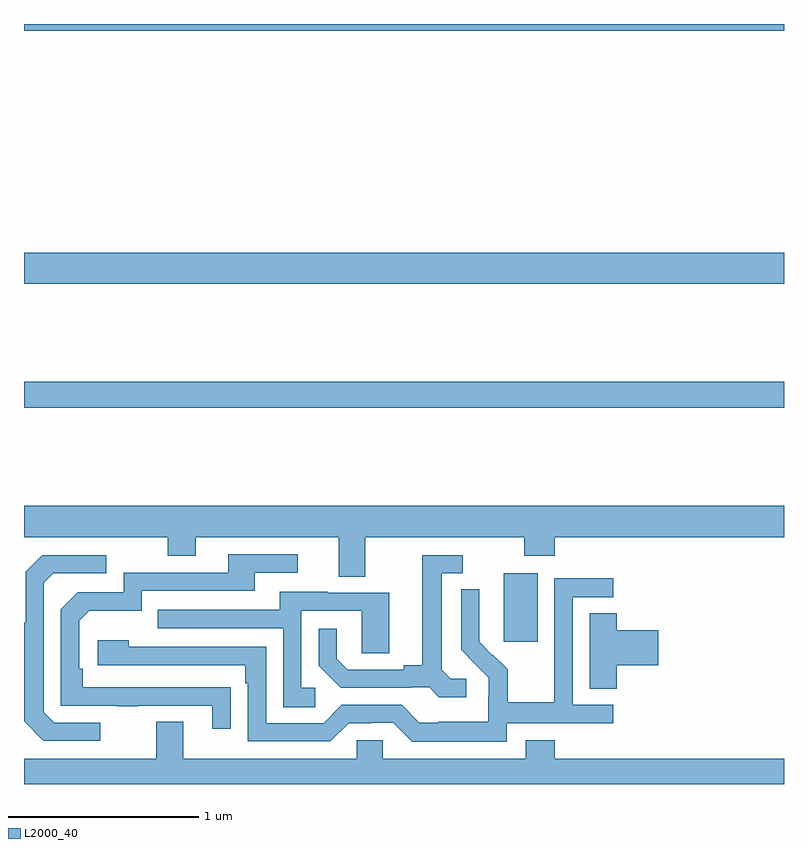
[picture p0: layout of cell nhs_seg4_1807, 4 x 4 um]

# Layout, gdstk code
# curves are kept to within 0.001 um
import gdstk
lib = gdstk.Library(unit=1e-6, precision=1e-09)
def R(c, l, rs):  # rectangles x0, y0, x1, y1
    for r in rs: c.add(gdstk.rectangle(r[:2], r[2:], *l))
def P(c, l, *ps):  # polygons
    for p in ps: c.add(gdstk.Polygon(p, *l))
L2000_40 = (2000, 40)

nhs_seg4_1807 = lib.new_cell('nhs_seg4_1807')
R(nhs_seg4_1807, L2000_40, [(207.524,749.649,207.703,750.01), (205,750.88,209,751.016), (205,751.532,209,751.696), (205,752.864,209,752.9)])
P(nhs_seg4_1807, L2000_40, [(206.797,750.2),(207.634,750.2),(207.634,750.101),(207.794,750.101),(207.794,750.2),(209,750.2),(209,750.364),(205,750.364),(205,750.2),(205.756,750.2),(205.756,750.101),(205.903,750.101),(205.903,750.2),(206.657,750.2),(206.657,749.992),(206.797,749.992)],
  [(206.087,749.408),(205.31,749.409),(205.31,749.506),(205.29,749.506),(205.29,749.76),(205.343,749.813),(205.62,749.813),(205.62,749.916),(206.215,749.916),(206.215,750.012),(206.44,750.012),(206.44,750.108),(206.075,750.108),(206.075,750.012),(205.524,750.012),(205.524,749.91),(205.284,749.91),(205.194,749.82),(205.194,749.313),(205.489,749.313),(205.489,749.308),(205.601,749.308),(205.601,749.313),(205.991,749.313),(205.991,749.19),(206.087,749.19)],
  [(205.402,749.223),(205.158,749.223),(205.104,749.277),(205.104,749.958),(205.155,750.009),(205.432,750.009),(205.432,750.105),(205.095,750.105),(205.008,750.018),(205.008,749.749),(205,749.749),(205,749.229),(205.101,749.127),(205.402,749.127)],
  [(207.328,749.454),(207.246,749.454),(207.199,749.501),(207.199,750.009),(207.31,750.009),(207.31,750.105),(207.095,750.105),(207.095,749.525),(206.999,749.525),(206.999,749.502),(206.704,749.502),(206.647,749.559),(206.647,749.716),(206.55,749.716),(206.55,749.522),(206.666,749.406),(207.038,749.406),(207.038,749.409),(207.132,749.409),(207.184,749.357),(207.328,749.357)],
  [(207.54,749.22),(208.102,749.22),(208.102,749.316),(207.888,749.316),(207.888,749.883),(208.102,749.883),(208.102,749.982),(207.792,749.982),(207.792,749.552),(207.79,749.552),(207.79,749.329),(207.545,749.329),(207.545,749.503),(207.468,749.58),(207.465,749.577),(207.395,749.648),(207.396,749.924),(207.3,749.924),(207.3,749.606),(207.446,749.458),(207.446,749.361),(207.444,749.361),(207.444,749.227),(207.181,749.227),(207.181,749.223),(207.081,749.223),(206.988,749.316),(206.673,749.316),(206.577,749.22),(206.274,749.22),(206.274,749.622),(205.55,749.622),(205.55,749.656),(205.389,749.656),(205.389,749.526),(206.165,749.526),(206.165,749.429),(206.178,749.429),(206.178,749.124),(206.613,749.124),(206.709,749.22),(206.828,749.22),(206.828,749.223),(206.943,749.223),(207.043,749.123),(207.54,749.123)],
  [(206.533,749.406),(206.46,749.406),(206.46,749.811),(206.778,749.811),(206.778,749.587),(206.923,749.587),(206.923,749.907),(206.599,749.907),(206.599,749.911),(206.345,749.911),(206.345,749.817),(205.705,749.817),(205.705,749.721),(206.364,749.721),(206.364,749.305),(206.533,749.305)],
  [(208.121,749.525),(208.339,749.525),(208.339,749.708),(208.121,749.708),(208.121,749.798),(207.977,749.798),(207.977,749.401),(208.121,749.401)],
  [(209,749.032),(207.794,749.032),(207.794,749.131),(207.641,749.131),(207.641,749.032),(206.889,749.032),(206.889,749.13),(206.751,749.13),(206.751,749.032),(205.837,749.032),(205.837,749.227),(205.697,749.227),(205.697,749.032),(205,749.032),(205,748.9),(209,748.9)])

lib.write_gds('nhs_seg4_1807.gds')
